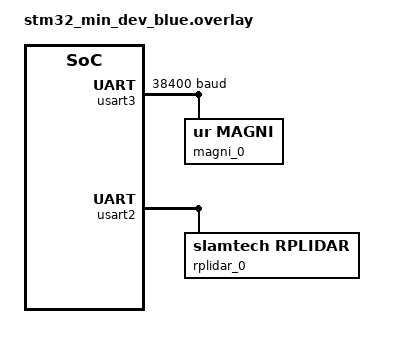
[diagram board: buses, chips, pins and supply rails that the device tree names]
/* Copyright (c) 2026 Tilmann Unte
 * SPDX-License-Identifier:  Apache-2.0
 */

/*
&usart1 {
	pinctrl-0 = <&usart1_tx_pa9 &usart1_rx_pa10>;
	current-speed = <115200>;
	pinctrl-names = "default";
	status = "okay";
};

&usart2 {
	pinctrl-0 = <&usart2_tx_pa2 &usart2_rx_pa3>;
	current-speed = <115200>;
	pinctrl-names = "default";
	status = "okay";
};

&usart3 {
	pinctrl-0 = <&usart3_tx_pb10 &usart3_rx_pb11>;
	current-speed = <115200>;
	pinctrl-names = "default";
	status = "okay";
};

&timers1 {
	status = "okay";

	pwm1: pwm {
		status = "okay";
		pinctrl-0 = <&tim1_ch1_pwm_out_pa8>;
		pinctrl-names = "default";
	};
};
*/
&usart3 {
	current-speed = <38400>;
	
	magni_0 {
		compatible = "ur,magni";
	};
};

&usart2 {
	rplidar_0 {
		compatible = "slamtech,rplidar";
		status = "okay";
		/* See above for potential PWM output */
	};
};
